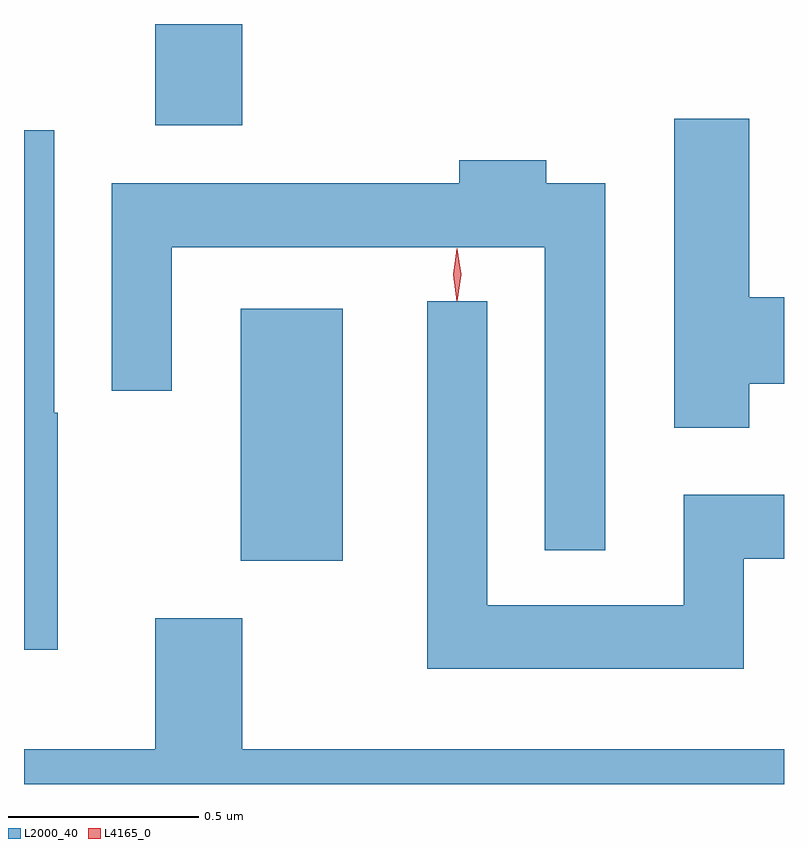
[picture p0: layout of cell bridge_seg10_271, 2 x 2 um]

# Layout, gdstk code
import gdstk
lib = gdstk.Library(unit=1e-6, precision=1e-09)
def R(c, l, rs):  # rectangles x0, y0, x1, y1
    for r in rs: c.add(gdstk.rectangle(r[:2], r[2:], *l))
def P(c, l, *ps):  # polygons
    for p in ps: c.add(gdstk.Polygon(p, *l))
L2000_40 = (2000, 40)
L4165_0 = (4165, 0)

bridge_seg10_271 = lib.new_cell('bridge_seg10_271')
R(bridge_seg10_271, L2000_40, [(1802.936,2101.361,1803.204,2102.024), (1802.711,2102.506,1802.939,2102.773)])
P(bridge_seg10_271, L2000_40, [(1804.274,2101.826),(1804.365,2101.826),(1804.365,2102.054),(1804.274,2102.054),(1804.274,2102.524),(1804.076,2102.524),(1804.076,2101.711),(1804.274,2101.711)],
  [(1802.454,2101.75),(1802.444,2101.75),(1802.444,2102.493),(1802.365,2102.493),(1802.365,2101.126),(1802.454,2101.126)],
  [(1803.894,2102.354),(1803.739,2102.354),(1803.739,2102.414),(1803.511,2102.414),(1803.511,2102.354),(1802.596,2102.354),(1802.596,2101.808),(1802.754,2101.808),(1802.754,2102.186),(1803.736,2102.186),(1803.736,2101.388),(1803.894,2101.388)],
  [(1804.259,2101.366),(1804.365,2101.366),(1804.365,2101.534),(1804.101,2101.534),(1804.101,2101.244),(1803.584,2101.244),(1803.584,2102.043),(1803.426,2102.043),(1803.426,2101.076),(1804.259,2101.076)],
  [(1804.365,2100.864),(1802.939,2100.864),(1802.939,2101.209),(1802.711,2101.209),(1802.711,2100.864),(1802.365,2100.864),(1802.365,2100.773),(1804.365,2100.773)])
P(bridge_seg10_271, L4165_0, [(1803.504,2102.044),(1803.495,2102.113),(1803.504,2102.182),(1803.505,2102.183),(1803.505,2102.182),(1803.515,2102.113),(1803.505,2102.044),(1803.505,2102.044)],
  [(1803.505,2102.047),(1803.504,2102.048),(1803.495,2102.114),(1803.504,2102.18),(1803.505,2102.181),(1803.505,2102.18),(1803.515,2102.114),(1803.505,2102.048)])

lib.write_gds('bridge_seg10_271.gds')
